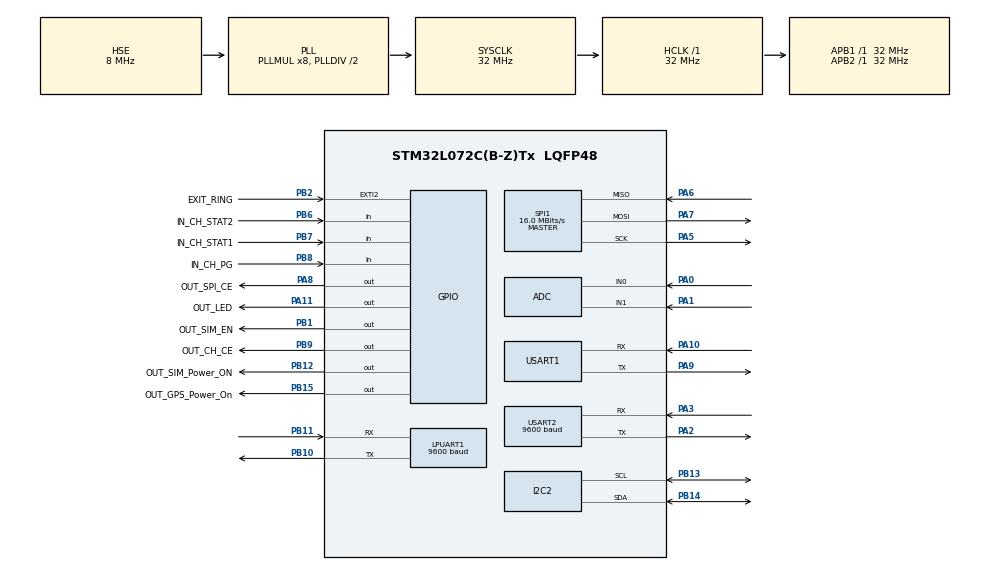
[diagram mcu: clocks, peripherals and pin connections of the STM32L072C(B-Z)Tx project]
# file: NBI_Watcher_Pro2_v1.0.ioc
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ADC.SamplingTime=ADC_SAMPLETIME_39CYCLES_5
I2C2.Timing=0x00707CBB
IWDG.Prescaler=IWDG_PRESCALER_256
LPUART1.BaudRate=9600
LPUART1.WordLength=UART_WORDLENGTH_8B
Mcu.Family=STM32L0
Mcu.Name=STM32L072C(B-Z)Tx
Mcu.Package=LQFP48
NVIC.AES_RNG_LPUART1_IRQn=true\:0\:0\:true\:false\:true\:true
NVIC.TIM2_IRQn=true\:1\:0\:true\:false\:true\:true
NVIC.USART1_IRQn=true\:3\:0\:true\:false\:true\:true
NVIC.USART2_IRQn=true\:1\:0\:true\:false\:true\:true
PA0.Mode=IN0
PA0.Signal=ADC_IN0
PA1.Mode=IN1
PA1.Signal=ADC_IN1
PA10.Mode=Asynchronous
PA10.Signal=USART1_RX
PA11.GPIO_Label=OUT_LED
PA11.Signal=GPIO_Output
PA2.Mode=Asynchronous
PA2.Signal=USART2_TX
PA3.Mode=Asynchronous
PA3.Signal=USART2_RX
PA5.Mode=Full_Duplex_Master
PA5.Signal=SPI1_SCK
PA6.Mode=Full_Duplex_Master
PA6.Signal=SPI1_MISO
PA7.Mode=Full_Duplex_Master
PA7.Signal=SPI1_MOSI
PA8.GPIO_Label=OUT_SPI_CE
PA8.Signal=GPIO_Output
PA9.Mode=Asynchronous
PA9.Signal=USART1_TX
PB1.GPIO_Label=OUT_SIM_EN
PB1.Signal=GPIO_Output
PB10.Mode=Asynchronous
PB10.Signal=LPUART1_TX
PB11.Mode=Asynchronous
PB11.Signal=LPUART1_RX
PB12.GPIO_Label=OUT_SIM_Power_ON
PB12.Signal=GPIO_Output
PB13.Mode=I2C
PB13.Signal=I2C2_SCL
PB14.Mode=I2C
PB14.Signal=I2C2_SDA
PB15.GPIO_Label=OUT_GPS_Power_On
PB15.Signal=GPIO_Output
PB2.GPIO_Label=EXIT_RING
PB2.Signal=GPXTI2
PB6.GPIO_Label=IN_CH_STAT2
PB6.Signal=GPIO_Input
PB7.GPIO_Label=IN_CH_STAT1
PB7.Signal=GPIO_Input
PB8.GPIO_Label=IN_CH_PG
PB8.Signal=GPIO_Input
PB9.GPIO_Label=OUT_CH_CE
PB9.GPIO_ModeDefaultOutputPP=GPIO_MODE_OUTPUT_PP
PB9.GPIO_PuPd=GPIO_PULLDOWN
PB9.Signal=GPIO_Output
PC14-OSC32_IN.Mode=LSE-External-Oscillator
PC14-OSC32_IN.Signal=RCC_OSC32_IN
PC15-OSC32_OUT.Mode=LSE-External-Oscillator
PC15-OSC32_OUT.Signal=RCC_OSC32_OUT
PH0-OSC_IN.Mode=HSE-External-Oscillator
PH0-OSC_IN.Signal=RCC_OSC_IN
PH1-OSC_OUT.Mode=HSE-External-Oscillator
PH1-OSC_OUT.Signal=RCC_OSC_OUT
ProjectManager.HeapSize=0x200
ProjectManager.StackSize=0x400
ProjectManager.TargetToolchain=MDK-ARM V5
RCC.AHBFreq_Value=32000000
RCC.APB1Freq_Value=32000000
RCC.APB1TimFreq_Value=32000000
RCC.APB2Freq_Value=32000000
RCC.APB2TimFreq_Value=32000000
RCC.HCLKFreq_Value=32000000
RCC.HSE_VALUE=8000000
RCC.HSI16_VALUE=16000000
RCC.HSI48_VALUE=48000000
RCC.HSI_VALUE=16000000
RCC.MSI_VALUE=2097000
RCC.PLLMUL=RCC_PLLMUL_8
RCC.PLLSourceVirtual=RCC_PLLSOURCE_HSE
RCC.RTCClockSelection=RCC_RTCCLKSOURCE_LSE
RCC.RTCClockSelectionVirtual=RCC_RTCCLKSOURCE_LSE
RCC.SYSCLKFreq_VALUE=32000000
RCC.SYSCLKSource=RCC_SYSCLKSOURCE_PLLCLK
RCC.VCOOutputFreq_Value=64000000
RTC.Alarm-Alarm\ A=RTC_ALARM_A
SPI1.CalculateBaudRate=16.0 MBits/s
SPI1.Direction=SPI_DIRECTION_2LINES
SPI1.Mode=SPI_MODE_MASTER
SPI1.VirtualType=VM_MASTER
TIM2.Period=49
TIM2.Prescaler=31999
USART1.VirtualMode-Asynchronous=VM_ASYNC
USART1.WordLength=WORDLENGTH_8B
USART2.BaudRate=9600
USART2.VirtualMode-Asynchronous=VM_ASYNC
USART2.WordLength=WORDLENGTH_8B
VP_IWDG_VS_IWDG.Mode=IWDG_Activate
VP_RTC_VS_RTC_Activate.Mode=RTC_Enabled
VP_RTC_VS_RTC_Alarm_A_Intern.Mode=Alarm A
VP_RTC_VS_RTC_Calendar.Mode=RTC_Calendar
VP_TIM2_VS_ClockSourceINT.Mode=Internal
board=NBI_Watcher_Pro2_v1.0

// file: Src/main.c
/**
  ******************************************************************************
  * @file           : main.c
  * @brief          : Main program body
  ******************************************************************************
  ** This notice applies to any and all portions of this file
  * that are not between comment pairs USER CODE BEGIN and
  * USER CODE END. Other portions of this file, whether
  * inserted by the user or by software development tools
  * are owned by their respective copyright owners.
  *
  * COPYRIGHT(c) 2018 STMicroelectronics
  *
  * Redistribution and use in source and binary forms, with or without modification,
  * are permitted provided that the following conditions are met:
  *   1. Redistributions of source code must retain the above copyright notice,
  *      this list of conditions and the following disclaimer.
  *   2. Redistributions in binary form must reproduce the above copyright notice,
  *      this list of conditions and the following disclaimer in the documentation
  *      and/or other materials provided with the distribution.
  *   3. Neither the name of STMicroelectronics nor the names of its contributors
  *      may be used to endorse or promote products derived from this software
  *      without specific prior written permission.
  *
  * THIS SOFTWARE IS PROVIDED BY THE COPYRIGHT HOLDERS AND CONTRIBUTORS "AS IS"
  * AND ANY EXPRESS OR IMPLIED WARRANTIES, INCLUDING, BUT NOT LIMITED TO, THE
  * IMPLIED WARRANTIES OF MERCHANTABILITY AND FITNESS FOR A PARTICULAR PURPOSE ARE
  * DISCLAIMED. IN NO EVENT SHALL THE COPYRIGHT HOLDER OR CONTRIBUTORS BE LIABLE
  * FOR ANY DIRECT, INDIRECT, INCIDENTAL, SPECIAL, EXEMPLARY, OR CONSEQUENTIAL
  * DAMAGES (INCLUDING, BUT NOT LIMITED TO, PROCUREMENT OF SUBSTITUTE GOODS OR
  * SERVICES; LOSS OF USE, DATA, OR PROFITS; OR BUSINESS INTERRUPTION) HOWEVER
  * CAUSED AND ON ANY THEORY OF LIABILITY, WHETHER IN CONTRACT, STRICT LIABILITY,
  * OR TORT (INCLUDING NEGLIGENCE OR OTHERWISE) ARISING IN ANY WAY OUT OF THE USE
  * OF THIS SOFTWARE, EVEN IF ADVISED OF THE POSSIBILITY OF SUCH DAMAGE.
  *
  ******************************************************************************
  */
#include "main.h"
#include "stm32l0xx_hal.h"

/* USER CODE BEGIN Includes */
#include "user_main.h"
#include "user_flash_L072.h"
#include "user_spi_flash.h"
/* USER CODE END Includes */

ADC_HandleTypeDef hadc;

I2C_HandleTypeDef hi2c2;

IWDG_HandleTypeDef hiwdg;

UART_HandleTypeDef hlpuart1;
UART_HandleTypeDef huart1;
UART_HandleTypeDef huart2;

RTC_HandleTypeDef hrtc;

SPI_HandleTypeDef hspi1;

TIM_HandleTypeDef htim2;

/* USER CODE BEGIN PV */
/* Private variables ---------------------------------------------------------*/

/* USER CODE END PV */

void SystemClock_Config(void);
static void MX_GPIO_Init(void);
static void MX_USART1_UART_Init(void);
static void MX_ADC_Init(void);
static void MX_LPUART1_UART_Init(void);
static void MX_RTC_Init(void);
static void MX_I2C2_Init(void);
static void MX_IWDG_Init(void);
static void MX_TIM2_Init(void);
static void MX_SPI1_Init(void);
static void MX_USART2_UART_Init(void);

/* USER CODE BEGIN PFP */
/* Private function prototypes -----------------------------------------------*/
#ifdef __DEBUG__

PUTCHAR_PROTOTYPE
{
  HAL_UART_Transmit(&huart1, (uint8_t *)&ch, 1, 0xFFFF);
  return ch;
}

#endif

void SetRtcAlarm(uint16_t time)
{
    RTC_AlarmTypeDef sAlarm;
    RTC_TimeTypeDef TimeNow;
    RTC_DateTypeDef DateNow;
    uint8_t Hours,Minutes,Seconds = 0;
	//获取当前时间
    HAL_RTC_GetTime(&hrtc, &TimeNow, RTC_FORMAT_BIN);
    HAL_RTC_GetDate(&hrtc, &DateNow, RTC_FORMAT_BIN);

    Hours = TimeNow.Hours;
    Minutes = TimeNow.Minutes;
    Seconds = TimeNow.Seconds;
	DEBUG("当前时间:%02d:%02d:%02d\r\n",Hours,Minutes,Seconds);

    sAlarm.AlarmTime.Hours = (Hours+(Minutes+(Seconds+time)/60)/60)%24;
    sAlarm.AlarmTime.Minutes = (Minutes+(Seconds+time)/60)%60;
    sAlarm.AlarmTime.Seconds = (Seconds+time)%60;

    DEBUG("%d,闹钟时间:%02d:%02d:%02d\r\n",time,sAlarm.AlarmTime.Hours,sAlarm.AlarmTime.Minutes,sAlarm.AlarmTime.Seconds);
	sAlarm.AlarmTime.SubSeconds = 0;
	sAlarm.AlarmTime.DayLightSaving = RTC_DAYLIGHTSAVING_NONE;
	sAlarm.AlarmTime.StoreOperation = RTC_STOREOPERATION_RESET;
	sAlarm.AlarmMask = RTC_ALARMMASK_DATEWEEKDAY;
	sAlarm.AlarmSubSecondMask = RTC_ALARMSUBSECONDMASK_ALL;
	sAlarm.AlarmDateWeekDaySel = RTC_ALARMDATEWEEKDAYSEL_DATE;
	sAlarm.AlarmDateWeekDay = 1;
	sAlarm.Alarm = RTC_ALARM_A;

    if (HAL_RTC_SetAlarm_IT(&hrtc, &sAlarm, RTC_FORMAT_BIN) != HAL_OK)
    {
        _Error_Handler(__FILE__, __LINE__);
    }
}
/* USER CODE END PFP */

int main(void)
{

  /* MCU Configuration----------------------------------------------------------*/

  /* Reset of all peripherals, Initializes the Flash interface and the Systick. */
  HAL_Init();

  /* Configure the system clock */
  SystemClock_Config();

  /* USER CODE BEGIN SysInit */
	if(FlashRead16(APP_AREA_ADD)==APP_AREA_B){
		SCB->VTOR = FLASH_BASE + BOOTLOADER_SIZE+AREA_SISE;
		//memcpy((void*)0x20000000, (void*)ApplicationAddressB, 0x100);
	}else if(FlashRead16(APP_AREA_ADD)==APP_AREA_A){
		SCB->VTOR = FLASH_BASE + BOOTLOADER_SIZE;
		//memcpy((void*)0x20000000, (void*)ApplicationAddressA, 0x100);
	}else
		return -1;

//	__HAL_SYSCFG_REMAPMEMORY_SRAM();//中断向量表重定向到SRAM中

    if(__HAL_RCC_GET_FLAG(RCC_FLAG_SFTRST)&& CheckFlag(CLOSE_IWDG))     //软件复位,主要是为了关闭开门狗
    {
        CleanFlag(CLOSE_IWDG);
        __HAL_RCC_CLEAR_RESET_FLAGS();      //清除所有复位标识,用于复位类型的判断
        __HAL_PWR_CLEAR_FLAG(PWR_FLAG_WU);  //清楚所有唤醒标志位
        HAL_PWR_EnterSTANDBYMode();         //进入休眠
	}
  /* USER CODE END SysInit */

  /* Initialize all configured peripherals */
  MX_GPIO_Init();
  MX_USART1_UART_Init();
  MX_ADC_Init();
  MX_LPUART1_UART_Init();
  MX_RTC_Init();
  MX_I2C2_Init();
  MX_IWDG_Init();
  MX_TIM2_Init();
  MX_SPI1_Init();
  MX_USART2_UART_Init();
  /* USER CODE BEGIN 2 */

  MX_GPIO_Init();
  MX_USART1_UART_Init();
//  MX_ADC_Init();
  MX_LPUART1_UART_Init();
  MX_RTC_Init();
  MX_I2C2_Init();
  MX_IWDG_Init();
  MX_TIM2_Init();
  MX_SPI1_Init();
  SpiFlashWAKEUP( );
//  MX_USART2_UART_Init();

    if(__HAL_RCC_GET_FLAG(RCC_FLAG_IWDGRST))//独立看门狗复位
    {
        DEBUG("系统异常，看门狗复位\r\n");
    }
	uint32_t StartTime=HAL_GetTick();
    DEBUG("开启独立开门狗\r\n");//最大看门时间大概26秒，代码设置为3秒左右

	UserMain();
	//所有复位源，都会使引脚复位置位，上电复位只产生引脚复位，其余的复位都产生一个引脚复位，和一个相应的自身复位
	//休眠唤醒会复位，但不产生任何一个复位标志
//	if(__HAL_RCC_GET_FLAG(RCC_FLAG_OBLRST))	//选项字节重载复位
//		DEBUG("RCC_FLAG_OBLRST reset");
//
//	if(__HAL_RCC_GET_FLAG(RCC_FLAG_PINRST))	//引脚复位,即按一下复位按钮
//		DEBUG("RCC_FLAG_PINRST reset");
//
//	if(__HAL_RCC_GET_FLAG(RCC_FLAG_PORRST))	//POR/PDR复位,上电或者掉电复位
//		DEBUG("RCC_FLAG_PORRST reset");
//
//	if(__HAL_RCC_GET_FLAG(RCC_FLAG_SFTRST))	//软件复位
//		DEBUG("RCC_FLAG_SFTRST reset");
//
//	if(__HAL_RCC_GET_FLAG(RCC_FLAG_IWDGRST))//独立看门狗复位
//		DEBUG("RCC_FLAG_OBLRST reset");
//
//	if(__HAL_RCC_GET_FLAG(RCC_FLAG_WWDGRST))//窗口看门狗复位
//		DEBUG("RCC_FLAG_WWDGRST reset");
//
//	if(__HAL_RCC_GET_FLAG(RCC_FLAG_LPWRRST))//低电量复位
//		DEBUG("RCC_FLAG_PORRST reset");
//
//	if(__HAL_RCC_GET_FLAG(RCC_CSR_FWRSTF))
//		DEBUG("RCC_CSR_FWRSTF reset");

//	__HAL_RCC_CLEAR_RESET_FLAGS();//清除所有复位标识,用于复位类型的判断

	uint32_t EndTime = (HAL_GetTick()-StartTime)/1000;  //执行程序用的时间(秒)
	uint32_t SleepTime =  FlashRead32(SAMPLE_PERIOD_ADDR);
	if(EndTime>SleepTime)			    //超出闹钟时间，不设置闹钟，直接复位
	{
		HAL_NVIC_SystemReset();
	}
	else
	{
        //无升级任务时，才进入休眠。不加此判断，在一次失败的升级后，设备会一直休眠无法唤醒（因为升级失败后会直接上报数据）
        if(CheckFlag(UPDATE_RESET))
            HAL_NVIC_SystemReset();     //有升级任务,直接复位进入Bootloader执行
        else
            SetFlag(CLOSE_IWDG);        //设置关闭看门狗标志，也是进入休眠的标志位
        SetRtcAlarm(300); //设置闹钟 SleepTime-EndTime
        SpiFlashPowerDown( );
		HAL_NVIC_SystemReset();         //关闭开门狗,进入休眠
	}

  /* USER CODE END 2 */

  /* Infinite loop */
  while (1)
  {

  }

}

void SystemClock_Config(void)
{

  RCC_OscInitTypeDef RCC_OscInitStruct;
  RCC_ClkInitTypeDef RCC_ClkInitStruct;
  RCC_PeriphCLKInitTypeDef PeriphClkInit;

    /**Configure the main internal regulator output voltage
    */
  __HAL_PWR_VOLTAGESCALING_CONFIG(PWR_REGULATOR_VOLTAGE_SCALE1);

    /**Configure LSE Drive Capability
    */
  HAL_PWR_EnableBkUpAccess();

  __HAL_RCC_LSEDRIVE_CONFIG(RCC_LSEDRIVE_LOW);

    /**Initializes the CPU, AHB and APB busses clocks
    */
  RCC_OscInitStruct.OscillatorType = RCC_OSCILLATORTYPE_LSI|RCC_OSCILLATORTYPE_HSE
                              |RCC_OSCILLATORTYPE_LSE;
  RCC_OscInitStruct.HSEState = RCC_HSE_ON;
  RCC_OscInitStruct.LSEState = RCC_LSE_ON;
  RCC_OscInitStruct.LSIState = RCC_LSI_ON;
  RCC_OscInitStruct.PLL.PLLState = RCC_PLL_ON;
  RCC_OscInitStruct.PLL.PLLSource = RCC_PLLSOURCE_HSE;
  RCC_OscInitStruct.PLL.PLLMUL = RCC_PLLMUL_8;
  RCC_OscInitStruct.PLL.PLLDIV = RCC_PLLDIV_2;
  if (HAL_RCC_OscConfig(&RCC_OscInitStruct) != HAL_OK)
  {
    _Error_Handler(__FILE__, __LINE__);
  }

    /**Initializes the CPU, AHB and APB busses clocks
    */
  RCC_ClkInitStruct.ClockType = RCC_CLOCKTYPE_HCLK|RCC_CLOCKTYPE_SYSCLK
                              |RCC_CLOCKTYPE_PCLK1|RCC_CLOCKTYPE_PCLK2;
  RCC_ClkInitStruct.SYSCLKSource = RCC_SYSCLKSOURCE_PLLCLK;
  RCC_ClkInitStruct.AHBCLKDivider = RCC_SYSCLK_DIV1;
  RCC_ClkInitStruct.APB1CLKDivider = RCC_HCLK_DIV1;
  RCC_ClkInitStruct.APB2CLKDivider = RCC_HCLK_DIV1;

  if (HAL_RCC_ClockConfig(&RCC_ClkInitStruct, FLASH_LATENCY_1) != HAL_OK)
  {
    _Error_Handler(__FILE__, __LINE__);
  }

  PeriphClkInit.PeriphClockSelection = RCC_PERIPHCLK_USART1|RCC_PERIPHCLK_USART2
                              |RCC_PERIPHCLK_LPUART1|RCC_PERIPHCLK_RTC;
  PeriphClkInit.Usart1ClockSelection = RCC_USART1CLKSOURCE_PCLK2;
  PeriphClkInit.Usart2ClockSelection = RCC_USART2CLKSOURCE_PCLK1;
  PeriphClkInit.Lpuart1ClockSelection = RCC_LPUART1CLKSOURCE_PCLK1;
  PeriphClkInit.RTCClockSelection = RCC_RTCCLKSOURCE_LSE;
  if (HAL_RCCEx_PeriphCLKConfig(&PeriphClkInit) != HAL_OK)
  {
    _Error_Handler(__FILE__, __LINE__);
  }

    /**Configure the Systick interrupt time
    */
  HAL_SYSTICK_Config(HAL_RCC_GetHCLKFreq()/1000);

    /**Configure the Systick
    */
  HAL_SYSTICK_CLKSourceConfig(SYSTICK_CLKSOURCE_HCLK);

  /* SysTick_IRQn interrupt configuration */
  HAL_NVIC_SetPriority(SysTick_IRQn, 0, 0);
}

/* ADC init function */
static void MX_ADC_Init(void)
{

  ADC_ChannelConfTypeDef sConfig;

    /**Configure the global features of the ADC (Clock, Resolution, Data Alignment and number of conversion)
    */
  hadc.Instance = ADC1;
  hadc.Init.OversamplingMode = DISABLE;
  hadc.Init.ClockPrescaler = ADC_CLOCK_SYNC_PCLK_DIV2;
  hadc.Init.Resolution = ADC_RESOLUTION_12B;
  hadc.Init.SamplingTime = ADC_SAMPLETIME_39CYCLES_5;
  hadc.Init.ScanConvMode = ADC_SCAN_DIRECTION_FORWARD;
  hadc.Init.DataAlign = ADC_DATAALIGN_RIGHT;
  hadc.Init.ContinuousConvMode = DISABLE;
  hadc.Init.DiscontinuousConvMode = DISABLE;
  hadc.Init.ExternalTrigConvEdge = ADC_EXTERNALTRIGCONVEDGE_NONE;
  hadc.Init.ExternalTrigConv = ADC_SOFTWARE_START;
  hadc.Init.DMAContinuousRequests = DISABLE;
  hadc.Init.EOCSelection = ADC_EOC_SINGLE_CONV;
  hadc.Init.Overrun = ADC_OVR_DATA_PRESERVED;
  hadc.Init.LowPowerAutoWait = DISABLE;
  hadc.Init.LowPowerFrequencyMode = DISABLE;
  hadc.Init.LowPowerAutoPowerOff = DISABLE;
  if (HAL_ADC_Init(&hadc) != HAL_OK)
  {
    _Error_Handler(__FILE__, __LINE__);
  }

    /**Configure for the selected ADC regular channel to be converted.
    */
  sConfig.Channel = ADC_CHANNEL_0;
  sConfig.Rank = ADC_RANK_CHANNEL_NUMBER;
  if (HAL_ADC_ConfigChannel(&hadc, &sConfig) != HAL_OK)
  {
    _Error_Handler(__FILE__, __LINE__);
  }

    /**Configure for the selected ADC regular channel to be converted.
    */
  sConfig.Channel = ADC_CHANNEL_1;
  if (HAL_ADC_ConfigChannel(&hadc, &sConfig) != HAL_OK)
  {
    _Error_Handler(__FILE__, __LINE__);
  }

}

/* I2C2 init function */
static void MX_I2C2_Init(void)
{

  hi2c2.Instance = I2C2;
  hi2c2.Init.Timing = 0x00707CBB;
  hi2c2.Init.OwnAddress1 = 0;
  hi2c2.Init.AddressingMode = I2C_ADDRESSINGMODE_7BIT;
  hi2c2.Init.DualAddressMode = I2C_DUALADDRESS_DISABLE;
  hi2c2.Init.OwnAddress2 = 0;
  hi2c2.Init.OwnAddress2Masks = I2C_OA2_NOMASK;
  hi2c2.Init.GeneralCallMode = I2C_GENERALCALL_DISABLE;
  hi2c2.Init.NoStretchMode = I2C_NOSTRETCH_DISABLE;
  if (HAL_I2C_Init(&hi2c2) != HAL_OK)
  {
    _Error_Handler(__FILE__, __LINE__);
  }

    /**Configure Analogue filter
    */
  if (HAL_I2CEx_ConfigAnalogFilter(&hi2c2, I2C_ANALOGFILTER_ENABLE) != HAL_OK)
  {
    _Error_Handler(__FILE__, __LINE__);
  }

    /**Configure Digital filter
    */
  if (HAL_I2CEx_ConfigDigitalFilter(&hi2c2, 0) != HAL_OK)
  {
    _Error_Handler(__FILE__, __LINE__);
  }

}

/* IWDG init function */
static void MX_IWDG_Init(void)
{

  hiwdg.Instance = IWDG;
  hiwdg.Init.Prescaler = IWDG_PRESCALER_256;
  hiwdg.Init.Window = 4095;
  hiwdg.Init.Reload = 4095;
  if (HAL_IWDG_Init(&hiwdg) != HAL_OK)
  {
    _Error_Handler(__FILE__, __LINE__);
  }

}

/* LPUART1 init function */
static void MX_LPUART1_UART_Init(void)
{

  hlpuart1.Instance = LPUART1;
  hlpuart1.Init.BaudRate = 9600;
  hlpuart1.Init.WordLength = UART_WORDLENGTH_8B;
  hlpuart1.Init.StopBits = UART_STOPBITS_1;
  hlpuart1.Init.Parity = UART_PARITY_NONE;
  hlpuart1.Init.Mode = UART_MODE_TX_RX;
  hlpuart1.Init.HwFlowCtl = UART_HWCONTROL_NONE;
  hlpuart1.Init.OneBitSampling = UART_ONE_BIT_SAMPLE_DISABLE;
  hlpuart1.AdvancedInit.AdvFeatureInit = UART_ADVFEATURE_NO_INIT;
  if (HAL_UART_Init(&hlpuart1) != HAL_OK)
  {
    _Error_Handler(__FILE__, __LINE__);
  }

}

/* USART1 init function */
static void MX_USART1_UART_Init(void)
{

  huart1.Instance = USART1;
  huart1.Init.BaudRate = 115200;
  huart1.Init.WordLength = UART_WORDLENGTH_8B;
  huart1.Init.StopBits = UART_STOPBITS_1;
  huart1.Init.Parity = UART_PARITY_NONE;
  huart1.Init.Mode = UART_MODE_TX_RX;
  huart1.Init.HwFlowCtl = UART_HWCONTROL_NONE;
  huart1.Init.OverSampling = UART_OVERSAMPLING_16;
  huart1.Init.OneBitSampling = UART_ONE_BIT_SAMPLE_DISABLE;
  huart1.AdvancedInit.AdvFeatureInit = UART_ADVFEATURE_NO_INIT;
  if (HAL_UART_Init(&huart1) != HAL_OK)
  {
    _Error_Handler(__FILE__, __LINE__);
  }

}

/* USART2 init function */
static void MX_USART2_UART_Init(void)
{

  huart2.Instance = USART2;
  huart2.Init.BaudRate = 9600;
  huart2.Init.WordLength = UART_WORDLENGTH_8B;
  huart2.Init.StopBits = UART_STOPBITS_1;
  huart2.Init.Parity = UART_PARITY_NONE;
  huart2.Init.Mode = UART_MODE_TX_RX;
  huart2.Init.HwFlowCtl = UART_HWCONTROL_NONE;
  huart2.Init.OverSampling = UART_OVERSAMPLING_16;
  huart2.Init.OneBitSampling = UART_ONE_BIT_SAMPLE_DISABLE;
  huart2.AdvancedInit.AdvFeatureInit = UART_ADVFEATURE_NO_INIT;
  if (HAL_UART_Init(&huart2) != HAL_OK)
  {
    _Error_Handler(__FILE__, __LINE__);
  }

}

/* RTC init function */
static void MX_RTC_Init(void)
{

  RTC_TimeTypeDef sTime;
  RTC_DateTypeDef sDate;
  RTC_AlarmTypeDef sAlarm;

    /**Initialize RTC Only
    */
  hrtc.Instance = RTC;
if(HAL_RTCEx_BKUPRead(&hrtc, RTC_BKP_DR0) != 0x32F2){
  hrtc.Init.HourFormat = RTC_HOURFORMAT_24;
  hrtc.Init.AsynchPrediv = 127;
  hrtc.Init.SynchPrediv = 255;
  hrtc.Init.OutPut = RTC_OUTPUT_DISABLE;
  hrtc.Init.OutPutRemap = RTC_OUTPUT_REMAP_NONE;
  hrtc.Init.OutPutPolarity = RTC_OUTPUT_POLARITY_HIGH;
  hrtc.Init.OutPutType = RTC_OUTPUT_TYPE_OPENDRAIN;
  if (HAL_RTC_Init(&hrtc) != HAL_OK)
  {
    _Error_Handler(__FILE__, __LINE__);
  }

    /**Initialize RTC and set the Time and Date
    */
  sTime.Hours = 0x0;
  sTime.Minutes = 0x0;
  sTime.Seconds = 0x0;
  sTime.DayLightSaving = RTC_DAYLIGHTSAVING_NONE;
  sTime.StoreOperation = RTC_STOREOPERATION_RESET;
  if (HAL_RTC_SetTime(&hrtc, &sTime, RTC_FORMAT_BCD) != HAL_OK)
  {
    _Error_Handler(__FILE__, __LINE__);
  }

  sDate.WeekDay = RTC_WEEKDAY_MONDAY;
  sDate.Month = RTC_MONTH_JANUARY;
  sDate.Date = 0x1;
  sDate.Year = 0x0;

  if (HAL_RTC_SetDate(&hrtc, &sDate, RTC_FORMAT_BCD) != HAL_OK)
  {
    _Error_Handler(__FILE__, __LINE__);
  }

    /**Enable the Alarm A
    */
  sAlarm.AlarmTime.Hours = 0x0;
  sAlarm.AlarmTime.Minutes = 0x0;
  sAlarm.AlarmTime.Seconds = 0x0;
  sAlarm.AlarmTime.SubSeconds = 0x0;
  sAlarm.AlarmTime.DayLightSaving = RTC_DAYLIGHTSAVING_NONE;
  sAlarm.AlarmTime.StoreOperation = RTC_STOREOPERATION_RESET;
  sAlarm.AlarmMask = RTC_ALARMMASK_NONE;
  sAlarm.AlarmSubSecondMask = RTC_ALARMSUBSECONDMASK_ALL;
  sAlarm.AlarmDateWeekDaySel = RTC_ALARMDATEWEEKDAYSEL_DATE;
  sAlarm.AlarmDateWeekDay = 0x1;
  sAlarm.Alarm = RTC_ALARM_A;
  if (HAL_RTC_SetAlarm(&hrtc, &sAlarm, RTC_FORMAT_BCD) != HAL_OK)
  {
    _Error_Handler(__FILE__, __LINE__);
  }

    HAL_RTCEx_BKUPWrite(&hrtc,RTC_BKP_DR0,0x32F2);
  }

}

/* SPI1 init function */
static void MX_SPI1_Init(void)
{

  /* SPI1 parameter configuration*/
  hspi1.Instance = SPI1;
  hspi1.Init.Mode = SPI_MODE_MASTER;
  hspi1.Init.Direction = SPI_DIRECTION_2LINES;
  hspi1.Init.DataSize = SPI_DATASIZE_8BIT;
  hspi1.Init.CLKPolarity = SPI_POLARITY_LOW;
  hspi1.Init.CLKPhase = SPI_PHASE_1EDGE;
  hspi1.Init.NSS = SPI_NSS_SOFT;
  hspi1.Init.BaudRatePrescaler = SPI_BAUDRATEPRESCALER_2;
  hspi1.Init.FirstBit = SPI_FIRSTBIT_MSB;
  hspi1.Init.TIMode = SPI_TIMODE_DISABLE;
  hspi1.Init.CRCCalculation = SPI_CRCCALCULATION_DISABLE;
  hspi1.Init.CRCPolynomial = 7;
  if (HAL_SPI_Init(&hspi1) != HAL_OK)
  {
    _Error_Handler(__FILE__, __LINE__);
  }

}

/* TIM2 init function */
static void MX_TIM2_Init(void)
{

  TIM_ClockConfigTypeDef sClockSourceConfig;
  TIM_MasterConfigTypeDef sMasterConfig;

  htim2.Instance = TIM2;
  htim2.Init.Prescaler = 31999;
  htim2.Init.CounterMode = TIM_COUNTERMODE_UP;
  htim2.Init.Period = 49;
  htim2.Init.ClockDivision = TIM_CLOCKDIVISION_DIV1;
  if (HAL_TIM_Base_Init(&htim2) != HAL_OK)
  {
    _Error_Handler(__FILE__, __LINE__);
  }

  sClockSourceConfig.ClockSource = TIM_CLOCKSOURCE_INTERNAL;
  if (HAL_TIM_ConfigClockSource(&htim2, &sClockSourceConfig) != HAL_OK)
  {
    _Error_Handler(__FILE__, __LINE__);
  }

  sMasterConfig.MasterOutputTrigger = TIM_TRGO_RESET;
  sMasterConfig.MasterSlaveMode = TIM_MASTERSLAVEMODE_DISABLE;
  if (HAL_TIMEx_MasterConfigSynchronization(&htim2, &sMasterConfig) != HAL_OK)
  {
    _Error_Handler(__FILE__, __LINE__);
  }

}

/** Configure pins as
        * Analog
        * Input
        * Output
        * EVENT_OUT
        * EXTI
        * Free pins are configured automatically as Analog (this feature is enabled through
        * the Code Generation settings)
*/
static void MX_GPIO_Init(void)
{

  GPIO_InitTypeDef GPIO_InitStruct;

  /* GPIO Ports Clock Enable */
  __HAL_RCC_GPIOC_CLK_ENABLE();
  __HAL_RCC_GPIOH_CLK_ENABLE();
  __HAL_RCC_GPIOA_CLK_ENABLE();
  __HAL_RCC_GPIOB_CLK_ENABLE();

  /*Configure GPIO pin Output Level */
  HAL_GPIO_WritePin(GPIOB, OUT_SIM_EN_Pin|OUT_SIM_Power_ON_Pin|OUT_GPS_Power_On_Pin|OUT_CH_CE_Pin, GPIO_PIN_RESET);

  /*Configure GPIO pin Output Level */
  HAL_GPIO_WritePin(GPIOA, OUT_SPI_CE_Pin|OUT_LED_Pin, GPIO_PIN_RESET);

  /*Configure GPIO pin : PC13 */
  GPIO_InitStruct.Pin = GPIO_PIN_13;
  GPIO_InitStruct.Mode = GPIO_MODE_ANALOG;
  GPIO_InitStruct.Pull = GPIO_NOPULL;
  HAL_GPIO_Init(GPIOC, &GPIO_InitStruct);

  /*Configure GPIO pins : PA4 PA12 PA13 PA14
                           PA15 */
  GPIO_InitStruct.Pin = GPIO_PIN_4|GPIO_PIN_12|GPIO_PIN_13|GPIO_PIN_14
                          |GPIO_PIN_15;
  GPIO_InitStruct.Mode = GPIO_MODE_ANALOG;
  GPIO_InitStruct.Pull = GPIO_NOPULL;
  HAL_GPIO_Init(GPIOA, &GPIO_InitStruct);

  /*Configure GPIO pins : PB0 PB3 PB4 PB5 */
  GPIO_InitStruct.Pin = GPIO_PIN_0|GPIO_PIN_3|GPIO_PIN_4|GPIO_PIN_5;
  GPIO_InitStruct.Mode = GPIO_MODE_ANALOG;
  GPIO_InitStruct.Pull = GPIO_NOPULL;
  HAL_GPIO_Init(GPIOB, &GPIO_InitStruct);

  /*Configure GPIO pins : OUT_SIM_EN_Pin OUT_SIM_Power_ON_Pin OUT_GPS_Power_On_Pin */
  GPIO_InitStruct.Pin = OUT_SIM_EN_Pin|OUT_SIM_Power_ON_Pin|OUT_GPS_Power_On_Pin;
  GPIO_InitStruct.Mode = GPIO_MODE_OUTPUT_PP;
  GPIO_InitStruct.Pull = GPIO_NOPULL;
  GPIO_InitStruct.Speed = GPIO_SPEED_FREQ_LOW;
  HAL_GPIO_Init(GPIOB, &GPIO_InitStruct);

  /*Configure GPIO pin : EXIT_RING_Pin */
  GPIO_InitStruct.Pin = EXIT_RING_Pin;
  GPIO_InitStruct.Mode = GPIO_MODE_IT_RISING;
  GPIO_InitStruct.Pull = GPIO_NOPULL;
  HAL_GPIO_Init(EXIT_RING_GPIO_Port, &GPIO_InitStruct);

  /*Configure GPIO pins : OUT_SPI_CE_Pin OUT_LED_Pin */
  GPIO_InitStruct.Pin = OUT_SPI_CE_Pin|OUT_LED_Pin;
  GPIO_InitStruct.Mode = GPIO_MODE_OUTPUT_PP;
  GPIO_InitStruct.Pull = GPIO_NOPULL;
  GPIO_InitStruct.Speed = GPIO_SPEED_FREQ_LOW;
  HAL_GPIO_Init(GPIOA, &GPIO_InitStruct);

  /*Configure GPIO pins : IN_CH_STAT2_Pin IN_CH_STAT1_Pin IN_CH_PG_Pin */
  GPIO_InitStruct.Pin = IN_CH_STAT2_Pin|IN_CH_STAT1_Pin|IN_CH_PG_Pin;
  GPIO_InitStruct.Mode = GPIO_MODE_INPUT;
  GPIO_InitStruct.Pull = GPIO_NOPULL;
  HAL_GPIO_Init(GPIOB, &GPIO_InitStruct);

  /*Configure GPIO pin : OUT_CH_CE_Pin */
  GPIO_InitStruct.Pin = OUT_CH_CE_Pin;
  GPIO_InitStruct.Mode = GPIO_MODE_OUTPUT_PP;
  GPIO_InitStruct.Pull = GPIO_PULLDOWN;
  GPIO_InitStruct.Speed = GPIO_SPEED_FREQ_LOW;
  HAL_GPIO_Init(OUT_CH_CE_GPIO_Port, &GPIO_InitStruct);

}

void _Error_Handler(char *file, int line)
{
  while(1)
  {
  }
}

/************************ (C) COPYRIGHT STMicroelectronics *****END OF FILE****/
